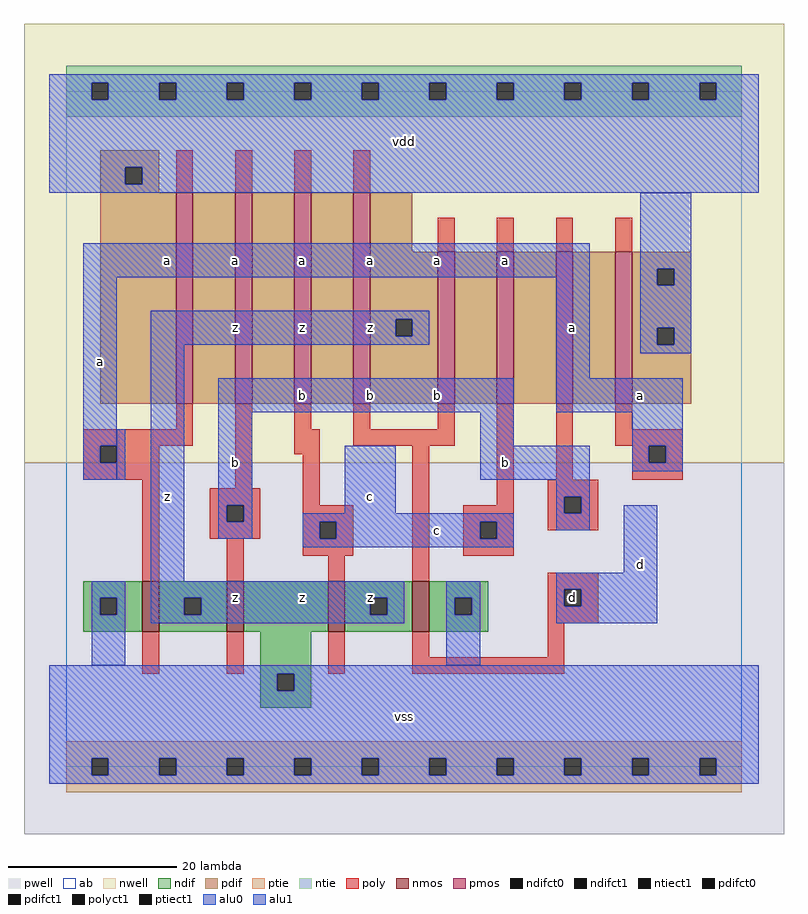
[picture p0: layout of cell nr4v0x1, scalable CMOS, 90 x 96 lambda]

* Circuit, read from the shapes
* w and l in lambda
.subckt nr4v0x1 a b c d vdd vss z
M1 z a vss vss nfet w=6 l=2
M2 vss b z vss nfet w=6 l=2
M3 z c vss vss nfet w=6 l=2
M4 vss d z vss nfet w=6 l=2
M5 n1 a vdd vdd pfet w=25 l=2
M6 n2 b n1 vdd pfet w=25 l=2
M7 n3 c n2 vdd pfet w=25 l=2
M8 z d n3 vdd pfet w=25 l=2
M9 n4 d z vdd pfet w=18 l=2
M10 n5 c n4 vdd pfet w=18 l=2
M11 n6 b n5 vdd pfet w=18 l=2
M12 vdd a n6 vdd pfet w=18 l=2
.ends

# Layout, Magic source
magic
tech scmos
<< ab >>
rect 0 0 80 80
<< nwell >>
rect -5 36 85 88
<< pwell >>
rect -5 -8 85 36
<< poly >>
rect 13 68 15 73
rect 20 68 22 73
rect 27 68 29 73
rect 34 68 36 73
rect 44 61 46 65
rect 51 61 53 65
rect 58 61 60 65
rect 65 61 67 65
rect 13 40 15 43
rect 2 38 15 40
rect 2 36 4 38
rect 6 36 11 38
rect 2 34 11 36
rect 9 22 11 34
rect 20 33 22 43
rect 27 40 29 43
rect 34 40 36 43
rect 44 40 46 43
rect 27 37 30 40
rect 34 38 46 40
rect 17 31 23 33
rect 17 29 19 31
rect 21 29 23 31
rect 17 27 23 29
rect 28 31 30 37
rect 28 29 34 31
rect 28 27 30 29
rect 32 27 34 29
rect 19 22 21 27
rect 28 25 34 27
rect 31 22 33 25
rect 41 22 43 38
rect 51 31 53 43
rect 58 34 60 43
rect 65 40 67 43
rect 65 38 73 40
rect 67 36 69 38
rect 71 36 73 38
rect 67 34 73 36
rect 47 29 53 31
rect 47 27 49 29
rect 51 27 53 29
rect 57 32 63 34
rect 57 30 59 32
rect 61 30 63 32
rect 57 28 63 30
rect 47 25 53 27
rect 57 21 63 23
rect 57 19 59 21
rect 61 19 63 21
rect 57 17 63 19
rect 9 11 11 16
rect 19 11 21 16
rect 31 11 33 16
rect 41 13 43 16
rect 57 13 59 17
rect 41 11 59 13
<< ndif >>
rect 2 20 9 22
rect 2 18 4 20
rect 6 18 9 20
rect 2 16 9 18
rect 11 20 19 22
rect 11 18 14 20
rect 16 18 19 20
rect 11 16 19 18
rect 21 16 31 22
rect 33 20 41 22
rect 33 18 36 20
rect 38 18 41 20
rect 33 16 41 18
rect 43 20 50 22
rect 43 18 46 20
rect 48 18 50 20
rect 43 16 50 18
rect 23 11 29 16
rect 23 9 25 11
rect 27 9 29 11
rect 23 7 29 9
<< pdif >>
rect 4 71 11 73
rect 4 69 7 71
rect 9 69 11 71
rect 4 68 11 69
rect 4 43 13 68
rect 15 43 20 68
rect 22 43 27 68
rect 29 43 34 68
rect 36 61 41 68
rect 36 53 44 61
rect 36 51 39 53
rect 41 51 44 53
rect 36 43 44 51
rect 46 43 51 61
rect 53 43 58 61
rect 60 43 65 61
rect 67 59 74 61
rect 67 57 70 59
rect 72 57 74 59
rect 67 52 74 57
rect 67 50 70 52
rect 72 50 74 52
rect 67 43 74 50
<< alu1 >>
rect -2 81 82 82
rect -2 79 3 81
rect 5 79 11 81
rect 13 79 19 81
rect 21 79 27 81
rect 29 79 35 81
rect 37 79 43 81
rect 45 79 51 81
rect 53 79 59 81
rect 61 79 67 81
rect 69 79 75 81
rect 77 79 82 81
rect -2 71 82 79
rect -2 69 7 71
rect 9 69 82 71
rect -2 68 82 69
rect 2 58 62 62
rect 2 38 6 58
rect 10 53 43 54
rect 10 51 39 53
rect 41 51 43 53
rect 10 50 43 51
rect 2 36 4 38
rect 2 34 6 36
rect 10 22 14 50
rect 58 46 62 58
rect 18 42 53 46
rect 58 42 73 46
rect 18 31 22 42
rect 49 38 53 42
rect 67 38 73 42
rect 18 29 19 31
rect 21 29 22 31
rect 33 30 39 38
rect 49 34 62 38
rect 67 36 69 38
rect 71 36 73 38
rect 67 35 73 36
rect 58 32 62 34
rect 58 30 59 32
rect 61 30 62 32
rect 18 27 22 29
rect 28 29 53 30
rect 28 27 30 29
rect 32 27 49 29
rect 51 27 53 29
rect 58 28 62 30
rect 28 26 53 27
rect 66 23 70 31
rect 10 20 40 22
rect 10 18 14 20
rect 16 18 36 20
rect 38 18 40 20
rect 10 17 40 18
rect 58 21 70 23
rect 58 19 59 21
rect 61 19 70 21
rect 58 17 70 19
rect -2 11 82 12
rect -2 9 25 11
rect 27 9 82 11
rect -2 1 82 9
rect -2 -1 3 1
rect 5 -1 11 1
rect 13 -1 19 1
rect 21 -1 27 1
rect 29 -1 35 1
rect 37 -1 43 1
rect 45 -1 51 1
rect 53 -1 59 1
rect 61 -1 67 1
rect 69 -1 75 1
rect 77 -1 82 1
rect -2 -2 82 -1
<< ptie >>
rect 0 1 80 3
rect 0 -1 3 1
rect 5 -1 11 1
rect 13 -1 19 1
rect 21 -1 27 1
rect 29 -1 35 1
rect 37 -1 43 1
rect 45 -1 51 1
rect 53 -1 59 1
rect 61 -1 67 1
rect 69 -1 75 1
rect 77 -1 80 1
rect 0 -3 80 -1
<< ntie >>
rect 0 81 80 83
rect 0 79 3 81
rect 5 79 11 81
rect 13 79 19 81
rect 21 79 27 81
rect 29 79 35 81
rect 37 79 43 81
rect 45 79 51 81
rect 53 79 59 81
rect 61 79 67 81
rect 69 79 75 81
rect 77 79 80 81
rect 0 77 80 79
<< nmos >>
rect 9 16 11 22
rect 19 16 21 22
rect 31 16 33 22
rect 41 16 43 22
<< pmos >>
rect 13 43 15 68
rect 20 43 22 68
rect 27 43 29 68
rect 34 43 36 68
rect 44 43 46 61
rect 51 43 53 61
rect 58 43 60 61
rect 65 43 67 61
<< polyct1 >>
rect 4 36 6 38
rect 19 29 21 31
rect 30 27 32 29
rect 69 36 71 38
rect 49 27 51 29
rect 59 30 61 32
rect 59 19 61 21
<< ndifct0 >>
rect 4 18 6 20
rect 46 18 48 20
<< ndifct1 >>
rect 14 18 16 20
rect 36 18 38 20
rect 25 9 27 11
<< ntiect1 >>
rect 3 79 5 81
rect 11 79 13 81
rect 19 79 21 81
rect 27 79 29 81
rect 35 79 37 81
rect 43 79 45 81
rect 51 79 53 81
rect 59 79 61 81
rect 67 79 69 81
rect 75 79 77 81
<< ptiect1 >>
rect 3 -1 5 1
rect 11 -1 13 1
rect 19 -1 21 1
rect 27 -1 29 1
rect 35 -1 37 1
rect 43 -1 45 1
rect 51 -1 53 1
rect 59 -1 61 1
rect 67 -1 69 1
rect 75 -1 77 1
<< pdifct0 >>
rect 70 57 72 59
rect 70 50 72 52
<< pdifct1 >>
rect 7 69 9 71
rect 39 51 41 53
<< alu0 >>
rect 6 34 7 40
rect 68 59 74 68
rect 68 57 70 59
rect 72 57 74 59
rect 68 52 74 57
rect 68 50 70 52
rect 72 50 74 52
rect 68 49 74 50
rect 3 20 7 22
rect 3 18 4 20
rect 6 18 7 20
rect 3 12 7 18
rect 45 20 49 22
rect 45 18 46 20
rect 48 18 49 20
rect 45 12 49 18
<< labels >>
rlabel alu1 4 48 4 48 6 a
rlabel alu1 28 20 28 20 6 z
rlabel alu1 20 20 20 20 6 z
rlabel alu1 12 32 12 32 6 z
rlabel alu1 28 44 28 44 6 b
rlabel alu1 20 36 20 36 6 b
rlabel alu1 28 52 28 52 6 z
rlabel alu1 20 52 20 52 6 z
rlabel alu1 12 60 12 60 6 a
rlabel alu1 28 60 28 60 6 a
rlabel alu1 20 60 20 60 6 a
rlabel alu1 40 6 40 6 6 vss
rlabel alu1 44 28 44 28 6 c
rlabel alu1 36 20 36 20 6 z
rlabel alu1 36 32 36 32 6 c
rlabel alu1 44 44 44 44 6 b
rlabel alu1 36 44 36 44 6 b
rlabel alu1 36 52 36 52 6 z
rlabel alu1 44 60 44 60 6 a
rlabel alu1 36 60 36 60 6 a
rlabel alu1 40 74 40 74 6 vdd
rlabel polyct1 60 20 60 20 6 d
rlabel alu1 52 36 52 36 6 b
rlabel alu1 60 52 60 52 6 a
rlabel alu1 52 60 52 60 6 a
rlabel alu1 68 24 68 24 6 d
rlabel alu1 68 44 68 44 6 a
<< end >>
